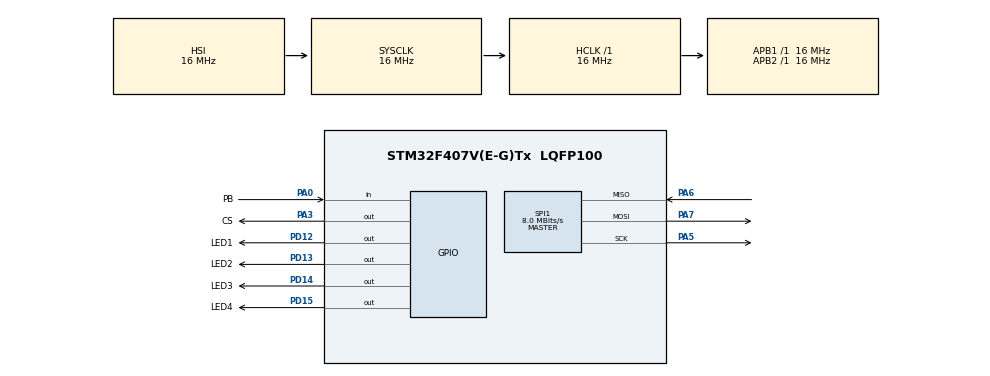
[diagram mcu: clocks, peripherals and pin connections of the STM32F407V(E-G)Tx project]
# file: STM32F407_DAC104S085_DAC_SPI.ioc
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Mcu.Family=STM32F4
Mcu.Name=STM32F407V(E-G)Tx
Mcu.Package=LQFP100
NVIC.PriorityGroup=NVIC_PRIORITYGROUP_4
PA0-WKUP.GPIO_Label=PB
PA0-WKUP.Signal=GPIO_Input
PA3.GPIO_Label=CS
PA3.Signal=GPIO_Output
PA5.Mode=Full_Duplex_Master
PA5.Signal=SPI1_SCK
PA6.Mode=Full_Duplex_Master
PA6.Signal=SPI1_MISO
PA7.Mode=Full_Duplex_Master
PA7.Signal=SPI1_MOSI
PD12.GPIO_Label=LED1
PD12.Signal=GPIO_Output
PD13.GPIO_Label=LED2
PD13.Signal=GPIO_Output
PD14.GPIO_Label=LED3
PD14.Signal=GPIO_Output
PD15.GPIO_Label=LED4
PD15.Signal=GPIO_Output
ProjectManager.HeapSize=0x200
ProjectManager.StackSize=0x400
ProjectManager.TargetToolchain=STM32CubeIDE
RCC.AHBFreq_Value=16000000
RCC.APB1Freq_Value=16000000
RCC.APB2Freq_Value=16000000
RCC.CortexFreq_Value=16000000
RCC.HSE_VALUE=25000000
RCC.HSI_VALUE=16000000
RCC.LSE_VALUE=32768
RCC.SYSCLKFreq_VALUE=16000000
RCC.VCOOutputFreq_Value=192000000
SPI1.CalculateBaudRate=8.0 MBits/s
SPI1.Direction=SPI_DIRECTION_2LINES
SPI1.Mode=SPI_MODE_MASTER
SPI1.VirtualType=VM_MASTER
board=custom

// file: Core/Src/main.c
/* USER CODE BEGIN Header */
/**
  ******************************************************************************
  * @file           : main.c
  * @brief          : Main program body
  ******************************************************************************
  * @attention
  *
  * <h2><center>&copy; Copyright (c) 2022 STMicroelectronics.
  * All rights reserved.</center></h2>
  *
  * This software component is licensed by ST under BSD 3-Clause license,
  * the "License"; You may not use this file except in compliance with the
  * License. You may obtain a copy of the License at:
  *                        opensource.org/licenses/BSD-3-Clause
  *
  ******************************************************************************
  */
/* USER CODE END Header */
#include "main.h"

 SPI_HandleTypeDef hspi1;

void SystemClock_Config(void);
static void MX_GPIO_Init(void);
static void MX_SPI1_Init(void);
/* USER CODE BEGIN PFP */
void DAC_Write(void);

void Init_DAC104S085(void);
void Write_DAC104S085(uint8_t channel,uint8_t mode, unsigned short value);

/* USER CODE END PFP */

/* USER CODE BEGIN 0 */
uint8_t spiTxBuf[2];
uint8_t LSB_bits=0;

/* USER CODE END 0 */

int main(void)
{

  /* MCU Configuration--------------------------------------------------------*/

  /* Reset of all peripherals, Initializes the Flash interface and the Systick. */
  HAL_Init();

  /* Configure the system clock */
  SystemClock_Config();

  /* Initialize all configured peripherals */
  MX_GPIO_Init();
  MX_SPI1_Init();
  /* USER CODE BEGIN 2 */

  /* Initialize tha DAC104S085 */
  Init_DAC104S085();

  /* Steps to Transmit SPI */

  /* 1. Bring SYNC Low
   * 2. Transmit register + data
   * 3. Bring SYNC High
  */

  /* Data frame */
  spiTxBuf [0]= 0x3F;
  spiTxBuf [1]= 0xFF;

  HAL_GPIO_WritePin(CS_GPIO_Port, CS_Pin, GPIO_PIN_RESET);
  if (HAL_SPI_Transmit(&hspi1, spiTxBuf, 2, 100) != HAL_OK) {
	Error_Handler();
  }
  HAL_GPIO_WritePin(CS_GPIO_Port, CS_Pin, GPIO_PIN_SET);
  HAL_Delay(500);

  /* USER CODE END 2 */

  /* Infinite loop */
  while (1)
  {

    /* USER CODE BEGIN 3 */
	  /*
	   * Channel: 0-3 -> A-D
	   * Mode: 	  0-3
	   * Value:   0-1023 -> 0 to Vref
	 */
	  Write_DAC104S085(3,1,1023);	// Write to channel #1 --> A
	  HAL_Delay(100);

//	  HAL_GPIO_WritePin(LED1_GPIO_Port, LED1_Pin, HAL_GPIO_ReadPin(PB_GPIO_Port, PB_Pin));
  }
  /* USER CODE END 3 */
}

void SystemClock_Config(void)
{
  RCC_OscInitTypeDef RCC_OscInitStruct = {0};
  RCC_ClkInitTypeDef RCC_ClkInitStruct = {0};

  /** Configure the main internal regulator output voltage
  */
  __HAL_RCC_PWR_CLK_ENABLE();
  __HAL_PWR_VOLTAGESCALING_CONFIG(PWR_REGULATOR_VOLTAGE_SCALE1);

  /** Initializes the RCC Oscillators according to the specified parameters
  * in the RCC_OscInitTypeDef structure.
  */
  RCC_OscInitStruct.OscillatorType = RCC_OSCILLATORTYPE_HSI;
  RCC_OscInitStruct.HSIState = RCC_HSI_ON;
  RCC_OscInitStruct.HSICalibrationValue = RCC_HSICALIBRATION_DEFAULT;
  RCC_OscInitStruct.PLL.PLLState = RCC_PLL_NONE;
  if (HAL_RCC_OscConfig(&RCC_OscInitStruct) != HAL_OK)
  {
    Error_Handler();
  }

  /** Initializes the CPU, AHB and APB buses clocks
  */
  RCC_ClkInitStruct.ClockType = RCC_CLOCKTYPE_HCLK|RCC_CLOCKTYPE_SYSCLK
                              |RCC_CLOCKTYPE_PCLK1|RCC_CLOCKTYPE_PCLK2;
  RCC_ClkInitStruct.SYSCLKSource = RCC_SYSCLKSOURCE_HSI;
  RCC_ClkInitStruct.AHBCLKDivider = RCC_SYSCLK_DIV1;
  RCC_ClkInitStruct.APB1CLKDivider = RCC_HCLK_DIV1;
  RCC_ClkInitStruct.APB2CLKDivider = RCC_HCLK_DIV1;

  if (HAL_RCC_ClockConfig(&RCC_ClkInitStruct, FLASH_LATENCY_0) != HAL_OK)
  {
    Error_Handler();
  }
}

static void MX_SPI1_Init(void)
{

  /* SPI1 parameter configuration*/
  hspi1.Instance = SPI1;
  hspi1.Init.Mode = SPI_MODE_MASTER;
  hspi1.Init.Direction = SPI_DIRECTION_2LINES;
  hspi1.Init.DataSize = SPI_DATASIZE_8BIT;
  hspi1.Init.CLKPolarity = SPI_POLARITY_LOW;
  hspi1.Init.CLKPhase = SPI_PHASE_1EDGE;
  hspi1.Init.NSS = SPI_NSS_SOFT;
  hspi1.Init.BaudRatePrescaler = SPI_BAUDRATEPRESCALER_2;
  hspi1.Init.FirstBit = SPI_FIRSTBIT_MSB;
  hspi1.Init.TIMode = SPI_TIMODE_DISABLE;
  hspi1.Init.CRCCalculation = SPI_CRCCALCULATION_DISABLE;
  hspi1.Init.CRCPolynomial = 10;
  if (HAL_SPI_Init(&hspi1) != HAL_OK)
  {
    Error_Handler();
  }

}

static void MX_GPIO_Init(void)
{
  GPIO_InitTypeDef GPIO_InitStruct = {0};

  /* GPIO Ports Clock Enable */
  __HAL_RCC_GPIOA_CLK_ENABLE();
  __HAL_RCC_GPIOD_CLK_ENABLE();

  /*Configure GPIO pin Output Level */
  HAL_GPIO_WritePin(CS_GPIO_Port, CS_Pin, GPIO_PIN_RESET);

  /*Configure GPIO pin Output Level */
  HAL_GPIO_WritePin(GPIOD, LED1_Pin|LED2_Pin|LED3_Pin|LED4_Pin, GPIO_PIN_RESET);

  /*Configure GPIO pin : PB_Pin */
  GPIO_InitStruct.Pin = PB_Pin;
  GPIO_InitStruct.Mode = GPIO_MODE_INPUT;
  GPIO_InitStruct.Pull = GPIO_NOPULL;
  HAL_GPIO_Init(PB_GPIO_Port, &GPIO_InitStruct);

  /*Configure GPIO pin : CS_Pin */
  GPIO_InitStruct.Pin = CS_Pin;
  GPIO_InitStruct.Mode = GPIO_MODE_OUTPUT_PP;
  GPIO_InitStruct.Pull = GPIO_NOPULL;
  GPIO_InitStruct.Speed = GPIO_SPEED_FREQ_LOW;
  HAL_GPIO_Init(CS_GPIO_Port, &GPIO_InitStruct);

  /*Configure GPIO pins : LED1_Pin LED2_Pin LED3_Pin LED4_Pin */
  GPIO_InitStruct.Pin = LED1_Pin|LED2_Pin|LED3_Pin|LED4_Pin;
  GPIO_InitStruct.Mode = GPIO_MODE_OUTPUT_PP;
  GPIO_InitStruct.Pull = GPIO_NOPULL;
  GPIO_InitStruct.Speed = GPIO_SPEED_FREQ_LOW;
  HAL_GPIO_Init(GPIOD, &GPIO_InitStruct);

}

/* USER CODE BEGIN 4 */
void DAC_Write(){
	  /* Data frame */
	  spiTxBuf [0]= 0xDF;	// MSB
	  spiTxBuf [1]= 0xFF;	// LSB

	HAL_GPIO_WritePin(CS_GPIO_Port, CS_Pin, GPIO_PIN_RESET);
	if (HAL_SPI_Transmit(&hspi1, spiTxBuf, 2, 100) != HAL_OK) {
		Error_Handler();
	}
	HAL_GPIO_WritePin(CS_GPIO_Port, CS_Pin, GPIO_PIN_SET);
}

void Write_DAC104S085(uint8_t channel, uint8_t mode, unsigned short value){
	 uint8_t dacBuff[2] = {0x10, 0x00};	/* 0x10 --> by default the DAC mode is "Write to specified register and update outputs" */

	/* Do not exceed the maximum value */
 	if(value > 1023)      // Dac is 10 bit
 		value=1023;

 	/* Do not take wrong channel number */
 	if(channel < 0)  	 // Channel is [0-3]
 		channel = 0;
 	else if(channel > 3) // Channel is [0-3]
 		channel = 3;

 	/* Do not take wrong mode number */
 	if(mode < 0)  	 // mode is [0-3]
 		mode = 0;
 	else if(mode > 3) // mode is [0-3]
 		mode = 3;

 	dacBuff[1] |= (value << 2);		/* Ignore the LSB 2-bits "Don't Care" */
 	dacBuff[0] |= (channel << 6);   /* Take the channel number to the 1st & 2nd bits" */
 	dacBuff[0] |= (mode << 4);   	/* Shift the mode by 4 to be in the 3rd & 4th bits */
 	dacBuff[0] |= (value >> 6);		/* Take the last two bits for the DAC value */

 	/* Write register and update the DAC output */
	HAL_GPIO_WritePin(CS_GPIO_Port, CS_Pin, GPIO_PIN_RESET);
	if (HAL_SPI_Transmit(&hspi1, dacBuff, 2, 100) != HAL_OK) {
		Error_Handler();
	}
	HAL_GPIO_WritePin(CS_GPIO_Port, CS_Pin, GPIO_PIN_SET);
}

void Init_DAC104S085(void){
	/* Power-down outputs by do the mode 3 */
	Write_DAC104S085(0,3,0); /* The channel No. & the value are don't care*/
}

/* USER CODE END 4 */

void Error_Handler(void)
{
  __disable_irq();
  while (1)
  {
  }
}
